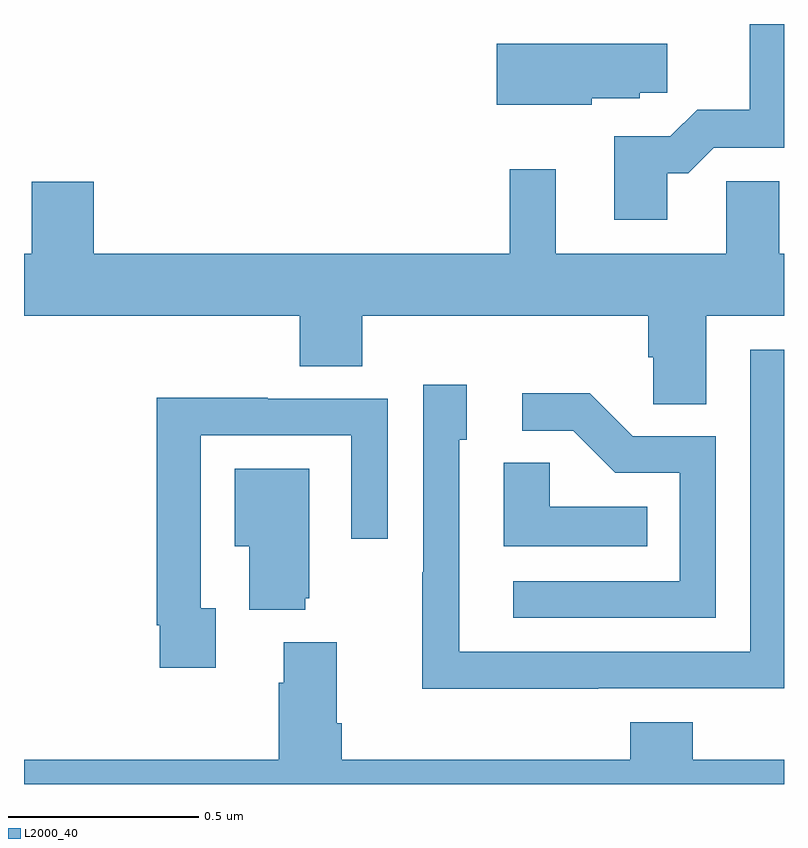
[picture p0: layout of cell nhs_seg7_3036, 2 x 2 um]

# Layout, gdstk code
import gdstk
lib = gdstk.Library(unit=1e-6, precision=1e-09)
def P(c, l, *ps):  # polygons
    for p in ps: c.add(gdstk.Polygon(p, *l))
L2000_40 = (2000, 40)

nhs_seg7_3036 = lib.new_cell('nhs_seg7_3036')
P(nhs_seg7_3036, L2000_40, [(154.693,1051.607),(154.748,1051.607),(154.815,1051.674),(155,1051.674),(155,1052),(154.91,1052),(154.91,1051.775),(154.772,1051.775),(154.701,1051.704),(154.553,1051.704),(154.553,1051.485),(154.693,1051.485)],
  [(154.494,1051.805),(154.62,1051.805),(154.62,1051.819),(154.693,1051.819),(154.693,1051.948),(154.244,1051.948),(154.244,1051.787),(154.494,1051.787)],
  [(154.795,1051.232),(155,1051.232),(155,1051.396),(154.987,1051.396),(154.987,1051.586),(154.848,1051.586),(154.848,1051.396),(154.399,1051.396),(154.399,1051.618),(154.278,1051.618),(154.278,1051.396),(153.184,1051.396),(153.184,1051.585),(153.02,1051.585),(153.02,1051.396),(153,1051.396),(153,1051.232),(153.725,1051.232),(153.725,1051.099),(153.89,1051.099),(153.89,1051.232),(154.643,1051.232),(154.643,1051.123),(154.656,1051.123),(154.656,1051),(154.795,1051)],
  [(154.511,1050.252),(155,1050.252),(155,1051.143),(154.911,1051.143),(154.911,1050.348),(154.146,1050.348),(154.146,1050.906),(154.165,1050.906),(154.165,1051.051),(154.05,1051.051),(154.05,1050.557),(154.048,1050.557),(154.048,1050.251),(154.511,1050.251)],
  [(154.821,1050.915),(154.602,1050.915),(154.489,1051.028),(154.311,1051.028),(154.311,1050.93),(154.445,1050.93),(154.556,1050.819),(154.725,1050.819),(154.725,1050.534),(154.287,1050.534),(154.287,1050.438),(154.821,1050.438)],
  [(153.505,1050.462),(153.465,1050.462),(153.465,1050.918),(153.861,1050.918),(153.861,1050.645),(153.957,1050.645),(153.957,1051.014),(153.641,1051.014),(153.641,1051.016),(153.349,1051.016),(153.349,1050.418),(153.357,1050.418),(153.357,1050.306),(153.505,1050.306)],
  [(154.64,1050.73),(154.383,1050.73),(154.383,1050.845),(154.262,1050.845),(154.262,1050.626),(154.64,1050.626)],
  [(153.74,1050.489),(153.751,1050.489),(153.751,1050.829),(153.554,1050.829),(153.554,1050.626),(153.593,1050.626),(153.593,1050.458),(153.74,1050.458)],
  [(155,1050.064),(154.76,1050.064),(154.76,1050.163),(154.595,1050.163),(154.595,1050.064),(153.836,1050.064),(153.836,1050.16),(153.823,1050.16),(153.823,1050.373),(153.683,1050.373),(153.683,1050.266),(153.671,1050.266),(153.671,1050.064),(153,1050.064),(153,1050),(155,1050)])

lib.write_gds('nhs_seg7_3036.gds')
